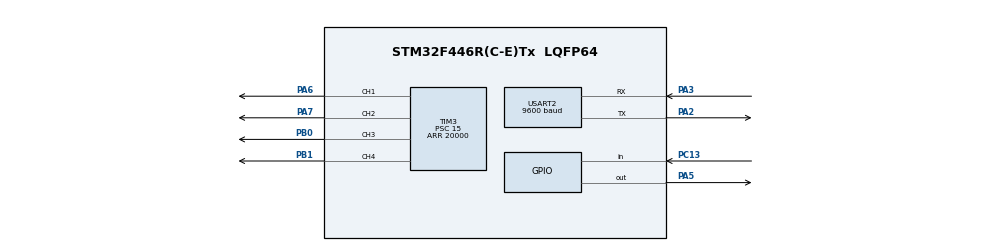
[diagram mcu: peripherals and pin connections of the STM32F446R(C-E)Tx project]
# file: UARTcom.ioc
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Mcu.Family=STM32F4
Mcu.Name=STM32F446R(C-E)Tx
Mcu.Package=LQFP64
NVIC.PriorityGroup=NVIC_PRIORITYGROUP_4
NVIC.USART2_IRQn=true\:0\:0\:false\:false\:true\:true\:true
PA2.Mode=Asynchronous
PA2.Signal=USART2_TX
PA3.Mode=Asynchronous
PA3.Signal=USART2_RX
PA5.Signal=GPIO_Output
PA6.Signal=S_TIM3_CH1
PA7.Signal=S_TIM3_CH2
PB0.Signal=S_TIM3_CH3
PB1.Signal=S_TIM3_CH4
PC13.Signal=GPIO_Input
PC14-OSC32_IN.Mode=LSE-External-Oscillator
PC14-OSC32_IN.Signal=RCC_OSC32_IN
PC15-OSC32_OUT.Mode=LSE-External-Oscillator
PC15-OSC32_OUT.Signal=RCC_OSC32_OUT
PH0-OSC_IN.Mode=HSE-External-Oscillator
PH0-OSC_IN.Signal=RCC_OSC_IN
PH1-OSC_OUT.Mode=HSE-External-Oscillator
PH1-OSC_OUT.Signal=RCC_OSC_OUT
ProjectManager.HeapSize=0x200
ProjectManager.StackSize=0x400
ProjectManager.TargetToolchain=STM32CubeIDE
RCC.CortexFreq_Value=16000000
RCC.USBFreq_Value=96000000
RCC.VCOOutputFreq_Value=192000000
SH.S_TIM3_CH1.0=TIM3_CH1,PWM Generation1 CH1
SH.S_TIM3_CH2.0=TIM3_CH2,PWM Generation2 CH2
SH.S_TIM3_CH3.0=TIM3_CH3,PWM Generation3 CH3
SH.S_TIM3_CH4.0=TIM3_CH4,PWM Generation4 CH4
TIM3.Channel-PWM\ Generation1\ CH1=TIM_CHANNEL_1
TIM3.Channel-PWM\ Generation2\ CH2=TIM_CHANNEL_2
TIM3.Channel-PWM\ Generation3\ CH3=TIM_CHANNEL_3
TIM3.Channel-PWM\ Generation4\ CH4=TIM_CHANNEL_4
TIM3.Period=20000
TIM3.Prescaler=15
USART2.BaudRate=9600
USART2.VirtualMode=VM_ASYNC
board=custom

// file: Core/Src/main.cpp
/* USER CODE BEGIN Header */
/**
  ******************************************************************************
  * @file           : main.c
  * @brief          : Main program body
  ******************************************************************************
  * @attention
  *
  * <h2><center>&copy; Copyright (c) 2022 STMicroelectronics.
  * All rights reserved.</center></h2>
  *
  * This software component is licensed by ST under BSD 3-Clause license,
  * the "License"; You may not use this file except in compliance with the
  * License. You may obtain a copy of the License at:
  *                        opensource.org/licenses/BSD-3-Clause
  *
  ******************************************************************************
  */
/* USER CODE END Header */
#include "main.h"

/* USER CODE BEGIN Includes */
#include <stdio.h>
#include <iostream>
using namespace std;
#include "cube.h"
/* USER CODE END Includes */

/* USER CODE BEGIN PD */
//Definition des pins de chaque servos
#define LEFT_ARM   TIM_CHANNEL_1	//D9 sur carte fille - D12 sur stm32
#define LEFT_CLAW  TIM_CHANNEL_2 	//D11 sur carte fille - D11 sur stm32
#define RIGHT_ARM  TIM_CHANNEL_3	//D5 sur carte fille - A3 sur stm32
#define RIGHT_CLAW TIM_CHANNEL_4	//D8 sur carte fille - D7 MORPHEO droite

//Definition des rapports cycliques (en us) pour chaque position de chaque pince.
#define LEFT_CLAW_OPEN   1900
#define LEFT_CLAW_CLOSE  1000
#define LEFT_CLAW_FREE   1250
#define LEFT_CLAW_BIGFREE   1450
#define RIGHT_CLAW_OPEN  2000
#define RIGHT_CLAW_CLOSE 1100
#define RIGHT_CLAW_FREE  1350
#define RIGHT_CLAW_BIGFREE 1500

//Definition des rapports cycliques (en us) pour chaque position de chaque bras.
#define LEFT_ARM_0    530
#define LEFT_ARM_90   1420
#define LEFT_ARM_90_INIT   1420
#define LEFT_ARM_180  2305
#define RIGHT_ARM_0   495
#define RIGHT_ARM_90  1437
#define RIGHT_ARM_90_INIT  1437
#define RIGHT_ARM_180 2435

//Definition du delai entre chaque mouvement
#define DELAY 1000

//Les fonctions ci-dessous sont définies dans le format suivant :
//void CotéRobot|Sens|type
//Le coté left correspond au coté du robot sans scotch, le coté right avec scotch
//Sens CW=Clockwise et AW=Anticlockwise
//Type Body=fait tourner le cube Side=fait tourner la face
//Exemple LeftCWBody fait pivoter le cube de 90° dans le sens CW avec la pince gauche
//Exemple RightAWBody fait tourner la face avec la pince droite dans le sens AW
void LeftCWBody();
void LeftAWBody();
void LeftCWSide();
void LeftAWSide();
void RightCWBody();
void RightAWBody();
void RightCWSide();
void RightAWSide();

//Fonction qui fait executer un mouvement type sur une face face
//Exemple Act(B, ' '); fait faire un mouvement B
void Act(int face, int type);

//Fonction qui regarde quelle couleur était sur le cube de base sur le numéro de face demandé
int WhichColorWasHere(int face);

void ActR2();//Fonction qui fait un mouvement R2
void ActRp();//Fonction qui fait un mouvement R'
void ActR();
void ActL2();
void ActLp();
void ActL();
void ActU2();
void ActUp();
void ActU();
void ActD2();
void ActDp();
void ActD();
void ActF2();
void ActFp();
void ActF();
void ActB2();
void ActBp();
void ActB();

void TuneLeftArm();
void TuneRightArm();
void TuneLeftClaw();
void TuneRightClaw();
/* USER CODE END PD */

TIM_HandleTypeDef htim3;
UART_HandleTypeDef huart2;

RubiksCube cube;

void SystemClock_Config(void);
static void MX_GPIO_Init(void);
static void MX_USART2_UART_Init(void);
static void MX_TIM3_Init(void);

/* USER CODE BEGIN 0 */
uint8_t rx_buf[128];		//Buffer pour l'envoi de la séquence de coups depuis l'ordinateur via l'UART

/****************************************************************************/
/*								FONCTION SOLVE()							*/
/*	Parametres: 	Aucun													*/
/*																			*/
/*	Return: 		Code d'état de la résolution (0=Résolution terminée; 	*/
/*					1=En attente de la séquence; -1=erreur)					*/
/*																			*/
/*	Effet:			Fonction principale de résolution du cube, permet		*/
/*					d'appeller les bonnes fonctions en fonction de la		*/
/* 					sequence demandée										*/
/****************************************************************************/
unsigned char solve()
{
	  int i=0;
	  int initialColorFace,nowColorFace;
	  int cpt=0;

	  HAL_UART_Receive(&huart2,rx_buf,128,100);

	  if(rx_buf[0]=='G' && rx_buf[1]=='O' && rx_buf[2]==':')
	  {
		  for(int i=0; i<128; i++)
		  {
				  printf("%c",rx_buf[i]);
		  }
		  printf("\n\r");
		  printf("-----------------------------Debut resolution-----------------------------\n\r");
		  i=3;
		  while(rx_buf[i]!=0xff)
		  {
			  if(rx_buf[i]=='R')
			  {
				  initialColorFace = WhichColorWasHere('R');
				  if(initialColorFace==-1){
					  printf("Erreur dans la lecture de la couleur initiale\n\r");
					  return -1;
				  }
				  nowColorFace = cube.WhereIsColor(initialColorFace);
				  if(nowColorFace==-1){
					  printf("Erreur dans la lecture de la couleur actuelle\n\r");
					  return -1;
				  }

				  if (rx_buf[i+1] == '2')		//cas R2
				  {
					  printf("Move %d : R2\r\n",cpt++);
					  Act(nowColorFace, '2');
					  i+=3;
				  }
				  else if (rx_buf[i+1] == 39)
				  {
					  printf("Move %d : R'\r\n",cpt++);
					  Act(nowColorFace, 39);
					  i+=3;
				  }
				  else if (rx_buf[i+1] == 32)
				  {
					  printf("Move %d : R\r\n",cpt++);
					  Act(nowColorFace, 32);
					  i+=2;
				  }
				  else
				  {
					  printf("Erreur dans la lecture du mouvement a realiser\n\r");
					  return -1;
				  }
			  }
			  else if(rx_buf[i]=='L')
			  {
				  initialColorFace = WhichColorWasHere('L');
				  if(initialColorFace==-1){
					  printf("Erreur dans la lecture de la couleur initiale\n\r");
					  return -1;
				  }
				  nowColorFace = cube.WhereIsColor(initialColorFace);
				  if(nowColorFace==-1){
					  printf("Erreur dans la lecture de la couleur actuelle\n\r");
					  return -1;
				  }

				  if (rx_buf[i+1] == '2')
				  {
					  printf("Move %d : L2\r\n",cpt++);
					  Act(nowColorFace, '2');
					  i+=3;
				  }
				  else if (rx_buf[i+1] == 39)
				  {
					  printf("Move %d : L'\r\n",cpt++);
					  Act(nowColorFace, 39);
					  i+=3;
				  }
					  else if (rx_buf[i+1] == 32)
				  {
					  printf("Move %d : L\r\n",cpt++);
					  Act(nowColorFace, 32);
					  i+=2;
				  }
				  else
				  {
					  printf("Erreur dans la lecture du mouvement a realiser\n\r");
					  return -1;
				  }
			  }
			  else if(rx_buf[i]=='U')
			  {
				  initialColorFace = WhichColorWasHere('U');
				  if(initialColorFace==-1){
					  printf("Erreur dans la lecture de la couleur initiale\n\r");
					  return -1;
				  }
				  nowColorFace = cube.WhereIsColor(initialColorFace);
				  if(nowColorFace==-1){
					  printf("Erreur dans la lecture de la couleur actuelle\n\r");
					  return -1;
				  }

				  if (rx_buf[i+1] == '2')
				  {
					  printf("Move %d : U2\r\n",cpt++);
					  Act(nowColorFace, '2');
					  i+=3;
				  }
					  else if (rx_buf[i+1] == 39)
				  {
					  printf("Move %d : U'\r\n",cpt++);
					  Act(nowColorFace, 39);
					  i+=3;
				  }
				  else if (rx_buf[i+1] == 32)
				  {
					  printf("Move %d : U\r\n",cpt++);
					  Act(nowColorFace, 32);
					  i+=2;
				  }
				  else
				  {
					  printf("Erreur dans la lecture du mouvement a realiser\n\r");
					  return -1 ;
				  }
			  }
			  else if(rx_buf[i]=='D')
			  {
				  initialColorFace = WhichColorWasHere('D');
				  if(initialColorFace==-1){
					  printf("Erreur dans la lecture de la couleur initiale\n\r");
					  return -1;
				  }
				  nowColorFace = cube.WhereIsColor(initialColorFace);
				  if(nowColorFace==-1){
					  printf("Erreur dans la lecture de la couleur actuelle\n\r");
					  return -1;
				  }

				  if (rx_buf[i+1] == '2')
				  {
					  printf("Move %d : D2\r\n",cpt++);
					  Act(nowColorFace, '2');
					  i+=3;
				  }
				  else if (rx_buf[i+1] == 39)
				  {
					  printf("Move %d : D'\r\n",cpt++);
					  Act(nowColorFace, 39);
					  i+=3;
				  }
				  else if (rx_buf[i+1] == 32)
				  {
					  printf("Move %d : D\r\n",cpt++);
					  Act(nowColorFace, 32);
					  i+=2;
				  }
				  else
				  {
					  printf("Erreur dans la lecture du mouvement a realiser\n\r");
					  return -1;
				  }
			  }
			  else if(rx_buf[i]=='F')
			  {
				  initialColorFace = WhichColorWasHere('F');
				  if(initialColorFace==-1){
					  printf("Erreur dans la lecture de la couleur initiale\n\r");
					  return -1;
				  }
				  nowColorFace = cube.WhereIsColor(initialColorFace);
				  if(nowColorFace==-1){
					  printf("Erreur dans la lecture de la couleur actuelle\n\r");
					  return -1;
				  }

				  if (rx_buf[i+1] == '2')
				  {
					  printf("Move %d : F2\r\n",cpt++);
					  Act(nowColorFace, '2');
					  i+=3;
				  }
				  else if (rx_buf[i+1] == 39)
				  {
					  printf("Move %d : F'\r\n",cpt++);
					  Act(nowColorFace, 39);
					  i+=3;
				  }
				  else if (rx_buf[i+1] == 32)
				  {
					  printf("Move %d : F\r\n",cpt++);
					  Act(nowColorFace, 32);
					  i+=2;
				  }
				  else
				  {
					  printf("Erreur dans la lecture du mouvement a realiser\n\r");
					  return -1;
				  }
			  }
			  else if(rx_buf[i]=='B')
			  {
				  initialColorFace = WhichColorWasHere('B');
				  if(initialColorFace==-1){
					  printf("Erreur dans la lecture de la couleur initiale\n\r");
					  return -1;
				  }
				  nowColorFace = cube.WhereIsColor(initialColorFace);
				  if(nowColorFace==-1){
					  printf("Erreur dans la lecture de la couleur actuelle\n\r");
					  return -1;
				  }

				  if (rx_buf[i+1] == '2')
				  {
					  printf("Move %d : B2\r\n",cpt++);
					  Act(nowColorFace, '2');
					  i+=3;
				  }
				  else if (rx_buf[i+1] == 39)
				  {
					  printf("Move %d : B'\r\n",cpt++);
					  Act(nowColorFace, 39);
					  i+=3;
				  }
				  else if (rx_buf[i+1] == 32)
				  {
					  printf("Move %d : B\r\n",cpt++);
					  Act(nowColorFace, 32);
					  i+=2;
				  }
				  else
				  {
					  printf("Erreur dans la lecture du mouvement a realiser\n\r");
					  return -1;
				  }
			  }
		  }
	  }
	  else if(rx_buf[0] == 0xff)
	  {
			return 1;
	  }
	  else
	  {
		  printf("Erreur indeterminee\r\n");
		  return -1;
	  }
	  return 0;
}

/****************************************************************************/
/*								FONCTION setPWM()							*/
/*	Parametres: 	-timer; indique le timer de la STM32 à utiliser			*/
/*					-channel; indique le channel du timer à utiliser pour	*/
/*							  generer la PWM								*/
/*					-period; indique la periode en ms de la PWM				*/
/*					-pulse; indique la duree de l'etat en ms haut de la PWM	*/
/*																			*/
/*	Return: 		Aucun													*/
/*																			*/
/****************************************************************************/
void setPWM(TIM_HandleTypeDef timer, uint32_t channel, uint16_t period, uint16_t pulse)
{
	HAL_TIM_PWM_Stop(&timer, channel);
	TIM_OC_InitTypeDef sConfigOC;
	timer.Init.Period = period;

	sConfigOC.OCMode = TIM_OCMODE_PWM1;
	sConfigOC.Pulse = pulse;
	sConfigOC.OCPolarity = TIM_OCPOLARITY_HIGH;
	sConfigOC.OCFastMode = TIM_OCFAST_DISABLE;
	HAL_TIM_PWM_ConfigChannel(&timer, &sConfigOC, channel);

	HAL_TIM_PWM_Start(&timer, channel);
}

/****************************************************************************/
/*							FONCTION initServosPosition()					*/
/*	Parametres: 	Aucun													*/
/*																			*/
/*	Return: 		Aucun													*/
/*																			*/
/*	Effet:			-Initialise la position des pinces et des bras 			*/
/*					-Permet un reset sans risques pour le robot				*/
/*					-Permet de positionner le cube dans les pinces avant res*/
/****************************************************************************/
void initServosPosition(){
	  setPWM(htim3, LEFT_CLAW, 20000, LEFT_CLAW_OPEN);
	  HAL_Delay(DELAY);
	  setPWM(htim3, RIGHT_CLAW, 20000, RIGHT_CLAW_OPEN);
	  HAL_Delay(DELAY);
	  setPWM(htim3, LEFT_ARM, 20000, LEFT_ARM_0);
	  HAL_Delay(DELAY);
	  setPWM(htim3, LEFT_ARM, 20000, LEFT_ARM_90_INIT);
	  HAL_Delay(DELAY);
	  setPWM(htim3, RIGHT_ARM, 20000, RIGHT_ARM_0);
	  HAL_Delay(DELAY);
	  setPWM(htim3, RIGHT_ARM, 20000, RIGHT_ARM_90_INIT);
	  HAL_Delay(DELAY);
	  setPWM(htim3, LEFT_CLAW, 20000, LEFT_CLAW_FREE);
	  HAL_Delay(DELAY);
	  setPWM(htim3, RIGHT_CLAW, 20000, RIGHT_CLAW_FREE);
	  printf("--------------------------------------------------------------------------\r\n");
	  printf("Code couleur face HAUT : %d             \n\r",UInitialColor);
	  printf("Code couleur face FRONT : %d            \n\r",FInitialColor);
	  printf("\n\r");
	  printf("RAPPEL : \n\r");
	  printf("Code Couleur : Blanc=%d | Rouge=%d | Vert=%d | Orange=%d | Bleu=%d | Jaune=%d\r\n",WHITE,RED,GREEN,ORANGE,BLUE,YELLOW);
	  printf("--------------------------------------------------------------------------\r\n");
	  printf("\n\r");
	  printf("Inserer le cube et appuyer sur le boutton...\r\n");
	  while(HAL_GPIO_ReadPin(GPIOC, GPIO_PIN_13)==GPIO_PIN_SET);
	  setPWM(htim3, LEFT_CLAW, 20000, LEFT_CLAW_CLOSE);
	  HAL_Delay(DELAY);
  	  setPWM(htim3, RIGHT_CLAW, 20000, RIGHT_CLAW_CLOSE);
	  HAL_Delay(DELAY);
	  printf("Cube Insere\r\n");

}

/****************************************************************************/
/*								FONCTION replace()							*/
/*	Parametres: 	Aucun													*/
/*																			*/
/*	Return: 		Aucun													*/
/*																			*/
/*	Effet:			Fonction qui permet au cube de se replacer dans une 	*/
/*					bonne position et donc d'éviter sa chute				*/
/****************************************************************************/
void replace(){
	setPWM(htim3, RIGHT_CLAW, 20000, RIGHT_CLAW_BIGFREE);
	setPWM(htim3, LEFT_CLAW, 20000, LEFT_CLAW_BIGFREE);
	HAL_Delay(DELAY);
	setPWM(htim3, RIGHT_CLAW, 20000, RIGHT_CLAW_CLOSE);
	setPWM(htim3, LEFT_CLAW, 20000, LEFT_CLAW_CLOSE);
	HAL_Delay(DELAY);
}

void LeftCWBody()
{
	setPWM(htim3, RIGHT_CLAW, 20000, RIGHT_CLAW_OPEN);
	HAL_Delay(DELAY);
	setPWM(htim3, LEFT_ARM, 20000, LEFT_ARM_180);
	HAL_Delay(DELAY);
	setPWM(htim3, RIGHT_CLAW, 20000, RIGHT_CLAW_CLOSE);
	HAL_Delay(DELAY);
	setPWM(htim3, LEFT_CLAW, 20000, LEFT_CLAW_OPEN);
	HAL_Delay(DELAY);
	setPWM(htim3, LEFT_ARM, 20000, LEFT_ARM_90);
	HAL_Delay(DELAY);
	setPWM(htim3, LEFT_CLAW, 20000, LEFT_CLAW_CLOSE);
	HAL_Delay(DELAY);
}

void LeftAWBody()
{
	setPWM(htim3, RIGHT_CLAW, 20000, RIGHT_CLAW_OPEN);
	HAL_Delay(DELAY);
	setPWM(htim3, LEFT_ARM, 20000, LEFT_ARM_0);
	HAL_Delay(DELAY);
	setPWM(htim3, RIGHT_CLAW, 20000, RIGHT_CLAW_CLOSE);
	HAL_Delay(DELAY);
	setPWM(htim3, LEFT_CLAW, 20000, LEFT_CLAW_OPEN);
	HAL_Delay(DELAY);
	setPWM(htim3, LEFT_ARM, 20000, LEFT_ARM_90);
	HAL_Delay(DELAY);
	setPWM(htim3, LEFT_CLAW, 20000, LEFT_CLAW_CLOSE);
	HAL_Delay(DELAY);
}

void LeftCWSide()
{
	setPWM(htim3, LEFT_ARM, 20000, LEFT_ARM_180);
	HAL_Delay(DELAY);
	setPWM(htim3, LEFT_CLAW, 20000, LEFT_CLAW_OPEN);
	HAL_Delay(DELAY);
	setPWM(htim3, LEFT_ARM, 20000, LEFT_ARM_90);
	HAL_Delay(DELAY);
	setPWM(htim3, LEFT_CLAW, 20000, LEFT_CLAW_CLOSE);
	HAL_Delay(DELAY);
}

void LeftAWSide()
{
	setPWM(htim3, LEFT_ARM, 20000, LEFT_ARM_0);
	HAL_Delay(DELAY);
	setPWM(htim3, LEFT_CLAW, 20000, LEFT_CLAW_OPEN);
	HAL_Delay(DELAY);
	setPWM(htim3, LEFT_ARM, 20000, LEFT_ARM_90);
	HAL_Delay(DELAY);
	setPWM(htim3, LEFT_CLAW, 20000, LEFT_CLAW_CLOSE);
	HAL_Delay(DELAY);
}

void RightCWBody()
{
	setPWM(htim3, LEFT_CLAW, 20000, LEFT_CLAW_OPEN);
	HAL_Delay(DELAY);
	setPWM(htim3, RIGHT_ARM, 20000, RIGHT_ARM_180);
	HAL_Delay(DELAY);
	setPWM(htim3, LEFT_CLAW, 20000, LEFT_CLAW_CLOSE);
	HAL_Delay(DELAY);
	setPWM(htim3, RIGHT_CLAW, 20000, RIGHT_CLAW_OPEN);
	HAL_Delay(DELAY);
	setPWM(htim3, RIGHT_ARM, 20000, RIGHT_ARM_90);
	HAL_Delay(DELAY);
	setPWM(htim3, RIGHT_CLAW, 20000, RIGHT_CLAW_CLOSE);
	HAL_Delay(DELAY);
}

void RightAWBody()
{
	setPWM(htim3, LEFT_CLAW, 20000, LEFT_CLAW_OPEN);
	HAL_Delay(DELAY);
	setPWM(htim3, RIGHT_ARM, 20000, RIGHT_ARM_0);
	HAL_Delay(DELAY);
	setPWM(htim3, LEFT_CLAW, 20000, LEFT_CLAW_CLOSE);
	HAL_Delay(DELAY);
	setPWM(htim3, RIGHT_CLAW, 20000, RIGHT_CLAW_OPEN);
	HAL_Delay(DELAY);
	setPWM(htim3, RIGHT_ARM, 20000, RIGHT_ARM_90);
	HAL_Delay(DELAY);
	setPWM(htim3, RIGHT_CLAW, 20000, RIGHT_CLAW_CLOSE);
	HAL_Delay(DELAY);
}

void RightCWSide()
{
	setPWM(htim3, RIGHT_ARM, 20000, RIGHT_ARM_180);
	HAL_Delay(DELAY);
	setPWM(htim3, RIGHT_CLAW, 20000, RIGHT_CLAW_OPEN);
	HAL_Delay(DELAY);
	setPWM(htim3, RIGHT_ARM, 20000, RIGHT_ARM_90);
	HAL_Delay(DELAY);
	setPWM(htim3, RIGHT_CLAW, 20000, RIGHT_CLAW_CLOSE);
	HAL_Delay(DELAY);
}

void RightAWSide()
{
	setPWM(htim3, RIGHT_ARM, 20000, RIGHT_ARM_0);
	HAL_Delay(DELAY);
	setPWM(htim3, RIGHT_CLAW, 20000, RIGHT_CLAW_OPEN);
	HAL_Delay(DELAY);
	setPWM(htim3, RIGHT_ARM, 20000, RIGHT_ARM_90);
	HAL_Delay(DELAY);
	setPWM(htim3, RIGHT_CLAW, 20000, RIGHT_CLAW_CLOSE);
	HAL_Delay(DELAY);
}

/****************************************************************************/
/*						FONCTION WhichColorWasHere()				 		*/
/*	Parametres: 	un numéro de face										*/
/*																			*/
/*	Return: 		Le code couleur de la couleur qui était présente		*/
/*					sur le cube initial sur la face demandée				*/
/*																			*/
/****************************************************************************/
int WhichColorWasHere(int face){
	switch (face)
	      {
	         case 'R':
	        	 return RInitialColor;
	         case 'L':
	        	 return LInitialColor;
	         case 'U':
	        	 return UInitialColor;
	         case 'D':
	        	 return DInitialColor;
	         case 'F':
	        	 return FInitialColor;
	         case 'B':
	        	 return BInitialColor;
	         default:
	            return -1;
	      }
}

void Act(int face, int type){
	if(face=='R')
	{
	  if (type == '2')		//cas R2
	  {
		  ActR2();
	  }
	  else if (type == 39)
	  {
		  ActRp();
	  }
	  else if (type == 32)
	  {
		  ActR();
	  }
	  else
	  {
		  printf("error\r\n");
	  }
	}
	else if(face=='L')
	{
	  if (type == '2')
	  {
		  ActL2();
	  }
	  else if (type == 39)
	  {
		  ActLp();
	  }
		  else if (type == 32)
	  {
		  ActL();
	  }
	  else
	  {
		  printf("error\r\n");
	  }
	}
	else if(face=='U')
	{
	  if (type == '2')
	  {
		  ActU2();
	  }
		  else if (type == 39)
	  {
		  ActUp();
	  }
	  else if (type == 32)
	  {
		  ActU();
	  }
	  else
	  {
		  printf("error\r\n");
	  }
	}
	else if(face=='D')
	{
	  if (type == '2')
	  {
		  ActD2();
	  }
	  else if (type == 39)
	  {
		  ActDp();
	  }
	  else if (type == 32)
	  {
		  ActD();
	  }
	  else
	  {
		  printf("error\r\n");
	  }
	}
	else if(face=='F')
	{
	  if (type == '2')
	  {
		  ActF2();
	  }
	  else if (type == 39)
	  {
		  ActFp();
	  }
	  else if (type == 32)
	  {
		  ActF();
	  }
	  else
	  {
		  printf("error\r\n");
	  }
	}
	else if(face=='B')
	{
	  if (type == '2')
	  {
		  ActB2();
	  }
	  else if (type == 39)
	  {
		  ActBp();
	  }
	  else if (type == 32)
	  {
		  ActB();
	  }
	  else
	  {
		  printf("error\r\n");
	  }
	}
}

void ActR2()
{
	RightCWBody();
	replace();
	LeftAWSide();
	replace();
	LeftAWSide();
	replace();
	cube.MoveR2();
	cube.BringToTop_Front(0,2);
}

void ActRp()
{
	RightCWBody();				//Rotation de la pince droite dans le sens CW (clockwise)
	replace();
	LeftAWSide();				//Rotation de la pince gauche dans le sens AW (anticlockwise)
	replace();					//Replace le rubik's cube au fond des pinces
	cube.MoveRprime();			//Mise a jour du Cube virtuel avec l'application d'un mouvement R'
	cube.BringToTop_Front(0,2);	//Mise a jour du Cube virtuel avec l'application d'un mouvement R'
}

void ActR()
{
	RightCWBody();
	replace();
	LeftCWSide();
	replace();
	cube.MoveR();
	cube.BringToTop_Front(0,2);
}

void ActL2()
{
	RightAWBody();
	replace();
	LeftAWSide();
	replace();
	LeftAWSide();
	replace();
	cube.MoveL2();
	cube.BringToTop_Front(0,4);
}

void ActLp()
{
	RightAWBody();
	replace();
	LeftAWSide();
	replace();
	cube.MoveLprime();
	cube.BringToTop_Front(0,4);
}

void ActL()
{
	RightAWBody();
	replace();
	LeftCWSide();
	replace();
	cube.MoveL();
	cube.BringToTop_Front(0,4);
}

void ActU2()
{
	LeftCWBody();
	replace();
	LeftCWBody();
	replace();
	RightCWSide();
	replace();
	RightCWSide();
	replace();
	cube.MoveU2();
	cube.BringToTop_Front(5,1);
}

void ActUp()
{
	LeftCWBody();
	replace();
	LeftCWBody();
	replace();
	RightAWSide();
	replace();
	cube.MoveUprime();
	cube.BringToTop_Front(5,1);
}

void ActU()
{
	LeftCWBody();
	replace();
	LeftCWBody();
	replace();
	RightCWSide();
	replace();
	cube.MoveU();
	cube.BringToTop_Front(5,1);
}

void ActD2()
{
	RightCWSide();
	replace();
	RightCWSide();
	replace();
	cube.MoveD2();
}

void ActDp()
{
	RightAWSide();
	replace();
	cube.MoveDprime();
}

void ActD()
{
	RightCWSide();
	replace();
	cube.MoveD();
}

void ActF2()
{
	RightCWBody();
	replace();
	RightCWBody();
	replace();
	LeftCWSide();
	replace();
	LeftCWSide();
	replace();
	cube.MoveF2();
	cube.BringToTop_Front(0,3);
}

void ActFp()
{
	RightCWBody();
	replace();
	RightCWBody();
	replace();
	LeftAWSide();
	replace();
	cube.MoveFprime();
	cube.BringToTop_Front(0,3);
}

void ActF()
{
	RightCWBody();
	replace();
	RightCWBody();
	replace();
	LeftCWSide();
	replace();
	cube.MoveF();
	cube.BringToTop_Front(0,3);
}

void ActB2()
{
	LeftCWSide();
	replace();
	LeftCWSide();
	replace();
	cube.MoveB2();
}

void ActBp()
{
	LeftAWSide();
	replace();
	cube.MoveBprime();
}

void ActB()
{
	LeftCWSide();
	replace();
	cube.MoveB();
}

/* USER CODE END 0 */

int main(void)
{

  /* MCU Configuration--------------------------------------------------------*/

  /* Reset of all peripherals, Initializes the Flash interface and the Systick. */
  HAL_Init();

  /* Configure the system clock */
  SystemClock_Config();

  /* Initialize all configured peripherals */
  MX_GPIO_Init();
  MX_USART2_UART_Init();
  MX_TIM3_Init();
  /* USER CODE BEGIN 2 */

  HAL_TIM_PWM_Init(&htim3);
  printf("Power ON...\r\n");
  HAL_Delay(1000);
  for(int i=0; i<128; i++)
  {
  		  rx_buf[i] = 0xff;
  }
  printf("Initialisation des servos...\r\n");
  printf("\r\n");
  initServosPosition();
  /* USER CODE END 2 */

  /* Infinite loop */
  /* USER CODE BEGIN WHILE */
  int solveCode=1;
  while (solveCode==1)
  {
    /* USER CODE END WHILE */

    /* USER CODE BEGIN 3 */
	  solveCode = solve();
	  switch(solveCode){
	  	  case 0:
	  		  printf("Resolution reussie \n\r");
	  		  break;
	  	  case -1:
	  		  printf("Erreur lors de la résolution\n\r");
	  		  break;
	  	  default:
	  		  break;
	  }
  }
  return 0;
  /* USER CODE END 3 */
}

void SystemClock_Config(void)
{
  RCC_OscInitTypeDef RCC_OscInitStruct = {0};
  RCC_ClkInitTypeDef RCC_ClkInitStruct = {0};

  /** Configure the main internal regulator output voltage
  */
  __HAL_RCC_PWR_CLK_ENABLE();
  __HAL_PWR_VOLTAGESCALING_CONFIG(PWR_REGULATOR_VOLTAGE_SCALE3);
  /** Initializes the RCC Oscillators according to the specified parameters
  * in the RCC_OscInitTypeDef structure.
  */
  RCC_OscInitStruct.OscillatorType = RCC_OSCILLATORTYPE_HSI;
  RCC_OscInitStruct.HSIState = RCC_HSI_ON;
  RCC_OscInitStruct.HSICalibrationValue = RCC_HSICALIBRATION_DEFAULT;
  RCC_OscInitStruct.PLL.PLLState = RCC_PLL_NONE;
  if (HAL_RCC_OscConfig(&RCC_OscInitStruct) != HAL_OK)
  {
    Error_Handler();
  }
  /** Initializes the CPU, AHB and APB buses clocks
  */
  RCC_ClkInitStruct.ClockType = RCC_CLOCKTYPE_HCLK|RCC_CLOCKTYPE_SYSCLK
                              |RCC_CLOCKTYPE_PCLK1|RCC_CLOCKTYPE_PCLK2;
  RCC_ClkInitStruct.SYSCLKSource = RCC_SYSCLKSOURCE_HSI;
  RCC_ClkInitStruct.AHBCLKDivider = RCC_SYSCLK_DIV1;
  RCC_ClkInitStruct.APB1CLKDivider = RCC_HCLK_DIV1;
  RCC_ClkInitStruct.APB2CLKDivider = RCC_HCLK_DIV1;

  if (HAL_RCC_ClockConfig(&RCC_ClkInitStruct, FLASH_LATENCY_0) != HAL_OK)
  {
    Error_Handler();
  }
}

static void MX_TIM3_Init(void)
{

  TIM_MasterConfigTypeDef sMasterConfig = {0};
  TIM_OC_InitTypeDef sConfigOC = {0};

  htim3.Instance = TIM3;
  htim3.Init.Prescaler = 15;
  htim3.Init.CounterMode = TIM_COUNTERMODE_UP;
  htim3.Init.Period = 20000;
  htim3.Init.ClockDivision = TIM_CLOCKDIVISION_DIV1;
  htim3.Init.AutoReloadPreload = TIM_AUTORELOAD_PRELOAD_DISABLE;
  if (HAL_TIM_PWM_Init(&htim3) != HAL_OK)
  {
    Error_Handler();
  }
  sMasterConfig.MasterOutputTrigger = TIM_TRGO_RESET;
  sMasterConfig.MasterSlaveMode = TIM_MASTERSLAVEMODE_DISABLE;
  if (HAL_TIMEx_MasterConfigSynchronization(&htim3, &sMasterConfig) != HAL_OK)
  {
    Error_Handler();
  }
  sConfigOC.OCMode = TIM_OCMODE_PWM1;
  sConfigOC.Pulse = 0;
  sConfigOC.OCPolarity = TIM_OCPOLARITY_HIGH;
  sConfigOC.OCFastMode = TIM_OCFAST_DISABLE;
  if (HAL_TIM_PWM_ConfigChannel(&htim3, &sConfigOC, TIM_CHANNEL_1) != HAL_OK)
  {
    Error_Handler();
  }
  if (HAL_TIM_PWM_ConfigChannel(&htim3, &sConfigOC, TIM_CHANNEL_2) != HAL_OK)
  {
    Error_Handler();
  }
  if (HAL_TIM_PWM_ConfigChannel(&htim3, &sConfigOC, TIM_CHANNEL_3) != HAL_OK)
  {
    Error_Handler();
  }
  if (HAL_TIM_PWM_ConfigChannel(&htim3, &sConfigOC, TIM_CHANNEL_4) != HAL_OK)
  {
    Error_Handler();
  }
  HAL_TIM_MspPostInit(&htim3);

}

static void MX_USART2_UART_Init(void)
{

  huart2.Instance = USART2;
  huart2.Init.BaudRate = 9600;
  huart2.Init.WordLength = UART_WORDLENGTH_8B;
  huart2.Init.StopBits = UART_STOPBITS_1;
  huart2.Init.Parity = UART_PARITY_NONE;
  huart2.Init.Mode = UART_MODE_TX_RX;
  huart2.Init.HwFlowCtl = UART_HWCONTROL_NONE;
  huart2.Init.OverSampling = UART_OVERSAMPLING_16;
  if (HAL_UART_Init(&huart2) != HAL_OK)
  {
    Error_Handler();
  }

}

static void MX_GPIO_Init(void)
{
  GPIO_InitTypeDef GPIO_InitStruct = {0};

  /* GPIO Ports Clock Enable */
  __HAL_RCC_GPIOC_CLK_ENABLE();
  __HAL_RCC_GPIOH_CLK_ENABLE();
  __HAL_RCC_GPIOA_CLK_ENABLE();
  __HAL_RCC_GPIOB_CLK_ENABLE();

  /*Configure GPIO pin Output Level */
  HAL_GPIO_WritePin(GPIOA, GPIO_PIN_5, GPIO_PIN_RESET);

  /*Configure GPIO pin : PC13 */
  GPIO_InitStruct.Pin = GPIO_PIN_13;
  GPIO_InitStruct.Mode = GPIO_MODE_INPUT;
  GPIO_InitStruct.Pull = GPIO_NOPULL;
  HAL_GPIO_Init(GPIOC, &GPIO_InitStruct);

  /*Configure GPIO pin : PA5 */
  GPIO_InitStruct.Pin = GPIO_PIN_5;
  GPIO_InitStruct.Mode = GPIO_MODE_OUTPUT_PP;
  GPIO_InitStruct.Pull = GPIO_NOPULL;
  GPIO_InitStruct.Speed = GPIO_SPEED_FREQ_LOW;
  HAL_GPIO_Init(GPIOA, &GPIO_InitStruct);

}

void Error_Handler(void)
{
  __disable_irq();
  while (1)
  {
  }
}

/************************ (C) COPYRIGHT STMicroelectronics *****END OF FILE****/
